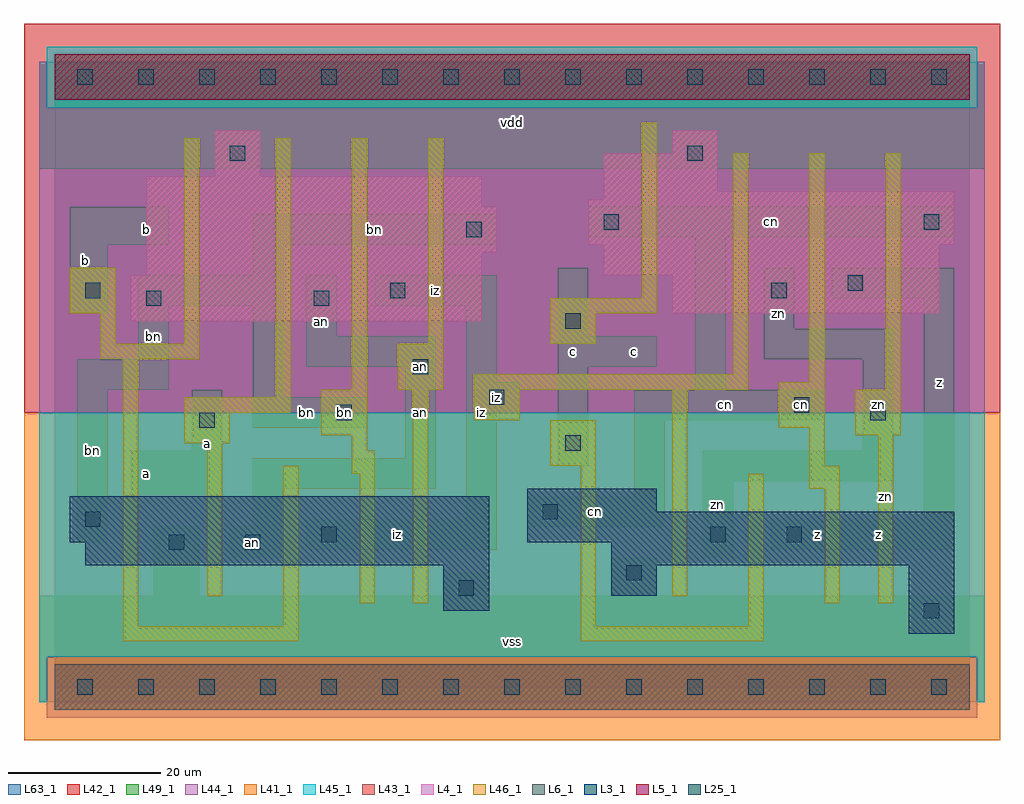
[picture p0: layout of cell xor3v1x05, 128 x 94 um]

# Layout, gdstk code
import gdstk
lib = gdstk.Library(unit=1e-6, precision=1e-09)
def R(c, l, rs):  # rectangles x0, y0, x1, y1
    for r in rs: c.add(gdstk.rectangle(r[:2], r[2:], *l))
def A(c, l, x, y, w, h, nx, ny, dx, dy):  # array of equal rectangles
    R(c, l, [(x+i*dx, y+j*dy, x+i*dx+w, y+j*dy+h) for i in range(nx) for j in range(ny)])
L3_1 = (3, 1)
L4_1 = (4, 1)
L5_1 = (5, 1)
L6_1 = (6, 1)
L25_1 = (25, 1)
L41_1 = (41, 1)
L42_1 = (42, 1)
L43_1 = (43, 1)
L44_1 = (44, 1)
L45_1 = (45, 1)
L46_1 = (46, 1)
L49_1 = (49, 1)
L63_1 = (63, 1)

xor3v1x05 = lib.new_cell('xor3v1x05')
R(xor3v1x05, L3_1, [(112,7,118,16), (51,10,57,16), (73,12,79,16), (4,16,57,19), (73,16,118,19), (2,19,57,25), (62,19,118,23), (62,23,79,26)])
R(xor3v1x05, L4_1, [(10,48,56,54), (81,49,116,54), (12,54,56,57), (72,54,116,58), (12,57,58,63), (70,58,118,64), (12,63,56,67), (72,64,118,65), (72,65,87,70), (21,67,27,73), (81,70,87,73)])
R(xor3v1x05, L5_1, [(0,77,120,83)])
R(xor3v1x05, L6_1, [(0,-3,120,3), (0,-3,120,3)])
A(xor3v1x05, L25_1, 3, -1, 2, 2, 15, 2, 8, 80)
R(xor3v1x05, L25_1, [(114,9,116,11), (53,12,55,14), (75,14,77,16), (15,18,17,20), (25,18,27,20), (35,19,37,21), (86,19,88,21), (96,19,98,21), (4,21,6,23), (64,22,66,24), (67,31,69,33), (19,34,21,36), (37,35,39,37), (107,35,109,37), (97,36,99,38), (57,37,59,39), (47,41,49,43), (67,47,69,49), (12,50,14,52), (34,50,36,52), (4,51,6,53), (44,51,46,53), (94,51,96,53), (104,52,106,54), (54,59,56,61), (72,60,74,62), (114,60,116,62), (23,69,25,71), (83,69,85,71)])
R(xor3v1x05, L41_1, [(-4,-7,124,36)])
R(xor3v1x05, L42_1, [(-4,36,124,87)])
R(xor3v1x05, L43_1, [(0,-3,120,3), (112,7,118,16), (51,10,57,16), (73,12,79,16), (4,16,57,19), (73,16,118,19), (2,19,57,25), (62,19,118,23), (62,23,79,26), (10,48,56,54), (81,49,116,54), (12,54,56,57), (72,54,116,58), (12,57,58,63), (70,58,118,64), (12,63,56,67), (72,64,118,65), (72,65,87,70), (21,67,27,73), (81,70,87,73), (0,77,120,83)])
R(xor3v1x05, L44_1, [(-1,-4,121,4), (-2,36,122,76), (-2,76,-1,82), (121,76,122,82)])
R(xor3v1x05, L45_1, [(-2,-2,-1,4), (121,-2,122,4), (-2,4,122,36), (-1,76,121,84)])
R(xor3v1x05, L46_1, [(9,6,32,8), (69,6,93,8), (9,8,11,43), (30,8,32,29), (69,8,71,29), (91,8,93,28), (40,11,42,28), (47,11,49,39), (101,11,103,26), (108,11,110,33), (20,12,22,32), (81,12,83,39), (99,26,103,29), (39,28,42,31), (65,29,71,35), (99,29,101,34), (39,31,41,33), (17,32,23,36), (35,33,41,39), (105,33,111,39), (95,34,101,40), (55,35,61,39), (17,36,31,38), (29,38,31,72), (39,39,41,72), (45,39,51,45), (55,39,91,41), (109,39,111,70), (99,40,101,70), (89,41,91,70), (6,43,19,45), (6,45,8,49), (17,45,19,72), (49,45,51,72), (65,45,71,49), (2,49,8,55), (65,49,79,51), (77,51,79,74)])
R(xor3v1x05, L49_1, [(-2,-2,122,12), (13,12,19,21), (51,12,57,15), (73,12,79,17), (23,17,30,21), (85,17,89,27), (33,18,58,22), (94,18,118,22), (3,19,7,39), (26,21,30,26), (62,21,80,25), (54,22,58,36), (114,22,118,51), (10,25,22,31), (76,25,80,35), (26,26,50,30), (85,27,110,31), (66,29,70,42), (46,30,50,42), (18,31,22,39), (106,31,110,43), (26,34,41,38), (76,35,101,39), (54,36,61,40), (26,38,30,50), (3,39,15,43), (84,39,88,59), (54,40,58,50), (33,42,50,46), (66,42,79,46), (11,43,15,50), (93,43,110,47), (33,46,37,54), (66,46,70,55), (93,47,97,55), (2,49,7,58), (11,50,30,54), (42,50,58,54), (102,51,118,55), (26,54,30,58), (2,58,15,63), (26,58,58,62), (70,59,118,63), (-2,68,122,82)])
R(xor3v1x05, L63_1, [(0,0,120,80)])
xor3v1x05.add(gdstk.Label('bn', (38,36), layer=49, texttype=1))
xor3v1x05.add(gdstk.Label('an', (48,42), layer=49, texttype=1))
xor3v1x05.add(gdstk.Label('iz', (58,38), layer=49, texttype=1))
xor3v1x05.add(gdstk.Label('zn', (109,25), layer=46, texttype=1))
xor3v1x05.add(gdstk.Label('cn', (98,37), layer=49, texttype=1))
xor3v1x05.add(gdstk.Label('a', (12,28), layer=49, texttype=1))
xor3v1x05.add(gdstk.Label('bn', (5,31), layer=49, texttype=1))
xor3v1x05.add(gdstk.Label('bn', (13,46), layer=49, texttype=1))
xor3v1x05.add(gdstk.Label('b', (4,56), layer=49, texttype=1))
xor3v1x05.add(gdstk.Label('b', (12,60), layer=49, texttype=1))
xor3v1x05.add(gdstk.Label('an', (26,19), layer=49, texttype=1))
xor3v1x05.add(gdstk.Label('a', (20,32), layer=49, texttype=1))
xor3v1x05.add(gdstk.Label('bn', (33,36), layer=49, texttype=1))
xor3v1x05.add(gdstk.Label('an', (35,48), layer=49, texttype=1))
xor3v1x05.add(gdstk.Label('vss', (60,6), layer=49, texttype=1))
xor3v1x05.add(gdstk.Label('iz', (45,20), layer=49, texttype=1))
xor3v1x05.add(gdstk.Label('an', (48,36), layer=49, texttype=1))
xor3v1x05.add(gdstk.Label('c', (68,44), layer=49, texttype=1))
xor3v1x05.add(gdstk.Label('iz', (50,52), layer=49, texttype=1))
xor3v1x05.add(gdstk.Label('iz', (56,36), layer=49, texttype=1))
xor3v1x05.add(gdstk.Label('bn', (42,60), layer=49, texttype=1))
xor3v1x05.add(gdstk.Label('vdd', (60,74), layer=49, texttype=1))
xor3v1x05.add(gdstk.Label('cn', (71,23), layer=49, texttype=1))
xor3v1x05.add(gdstk.Label('zn', (87,24), layer=49, texttype=1))
xor3v1x05.add(gdstk.Label('c', (76,44), layer=49, texttype=1))
xor3v1x05.add(gdstk.Label('z', (100,20), layer=49, texttype=1))
xor3v1x05.add(gdstk.Label('z', (108,20), layer=49, texttype=1))
xor3v1x05.add(gdstk.Label('zn', (108,37), layer=49, texttype=1))
xor3v1x05.add(gdstk.Label('cn', (88,37), layer=49, texttype=1))
xor3v1x05.add(gdstk.Label('z', (116,40), layer=49, texttype=1))
xor3v1x05.add(gdstk.Label('zn', (95,49), layer=49, texttype=1))
xor3v1x05.add(gdstk.Label('cn', (94,61), layer=49, texttype=1))

lib.write_gds('xor3v1x05.gds')
